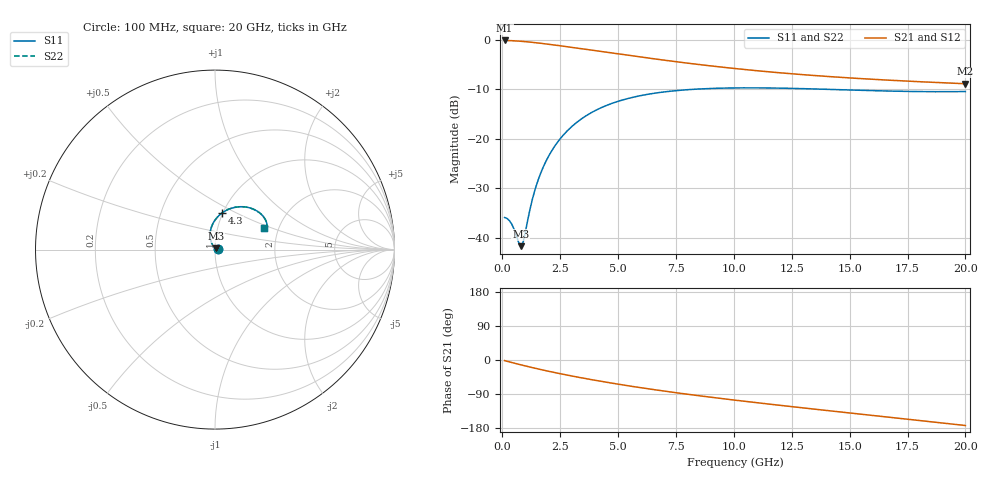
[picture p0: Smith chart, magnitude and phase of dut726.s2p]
! Touchstone file exported from HFSS 2024.1.0
!  File:  C:/UserFiles/LocalFiles/RDL_TSV_Batchsim/temp_RDL_TSV_726_1779891824.aedt
!  Generated:  10:40:17 PM May 27, 2026
!  Design:  RDL_TSV
!  Project:  temp_RDL_TSV_726_1779891824
!  Setup:  Setup1
!  Solution:  Sweep
! Variables:
!  dtsv = 9.65um
!  hbump = 3um
!  htsv = 90.1um
!  ldown = 363.93um
!  lrdl = 260.37um
!  p = 40
!  p1 = 52.23um
!  rhole = 10um
!  subl = 2133.27um
!  t = 450um
!  tdown = 3.88um
!  trdl = 2.64um
!  viad = 10um
!  wdown = 10.42um
!  wrdl = 23.68um
!  xbump = 18um
# GHz S MA R 50.000000
! Terminal data exported
! Port[1] = TM1_1_T1
! Port[2] = TM1_4_T1
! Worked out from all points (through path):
!   200 points, 100 MHz to 20 GHz, reference 50 ohm
!   highest |S21| = -0.15 dB at 100 MHz (marker M1); lowest = -8.9 dB at 20 GHz (marker M2)
!   group delay of S21, straight-line fit = 22.4 ps
!   lowest |S11| = -41.7 dB at 800 MHz (marker M3), VSWR 1.02, Z = 50.5 + j0.675 ohm
!   |S11| at or under -10 dB: start of sweep to 8.282 GHz; 13.97 GHz to end of sweep
!   |S22| runs from -41.7 to -9.7 dB; largest |S21 - S12| = 1.6e-14
!   S11 on the Smith chart (normalised r, x): 100 MHz: 1.03, +0.00; 4.3 GHz: 0.99, +0.42; 20 GHz: 1.68, +0.45
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0.1  0.01607 2.1  0.9834 -1.6  0.9834 -1.6  0.01607 2.1
! Gamma 0 0 0 0
! Port Impedance 50 0 50 0
0.3  0.015 6.0  0.9805 -4.9  0.9805 -4.9  0.015 6.0
0.4  0.01388 8.6  0.9783 -6.5  0.9783 -6.5  0.01388 8.6
0.7  0.009047 33.4  0.969 -11.2  0.969 -11.2  0.009052 33.4
0.8  0.008245 54.2  0.9651 -12.7  0.9651 -12.7  0.008247 54.1
0.9  0.009033 78.0  0.9609 -14.2  0.9609 -14.2  0.00903 77.9
1.2  0.01961 112.5  0.9466 -18.7  0.9466 -18.7  0.0196 112.4
1.4  0.0299 116.9  0.9358 -21.6  0.9358 -21.6  0.02988 116.9
1.6  0.04146 117.1  0.9244 -24.4  0.9244 -24.4  0.04143 117.1
1.9  0.06024 114.3  0.9064 -28.4  0.9064 -28.4  0.06021 114.3
2.2  0.07999 110.1  0.8878 -32.4  0.8878 -32.4  0.07994 110.1
2.6  0.1067 103.9  0.8627 -37.4  0.8627 -37.4  0.1067 103.8
3  0.1329 97.6  0.8377 -42.2  0.8377 -42.2  0.1328 97.6
3.5  0.1638 90.1  0.8069 -47.9  0.8069 -47.9  0.1638 90.1
4.3  0.2075 79.2  0.7595 -56.6  0.7595 -56.6  0.2074 79.2
5.4  0.2542 66.6  0.6988 -67.7  0.6988 -67.7  0.2541 66.6
6.8  0.2935 53.8  0.6304 -80.4  0.6304 -80.4  0.2934 53.8
8.4  0.3174 42.8  0.5654 -93.6  0.5654 -93.6  0.3173 42.8
10.1  0.3264 34.2  0.5105 -106.3  0.5105 -106.3  0.3263 34.2
13.4  0.319 24.5  0.4365 -129.1  0.4365 -129.1  0.319 24.5
16.7  0.3034 21.8  0.3906 -151.0  0.3906 -151.0  0.3034 21.7
20  0.3 23.7  0.3597 -172.9  0.3597 -172.9  0.3 23.6
